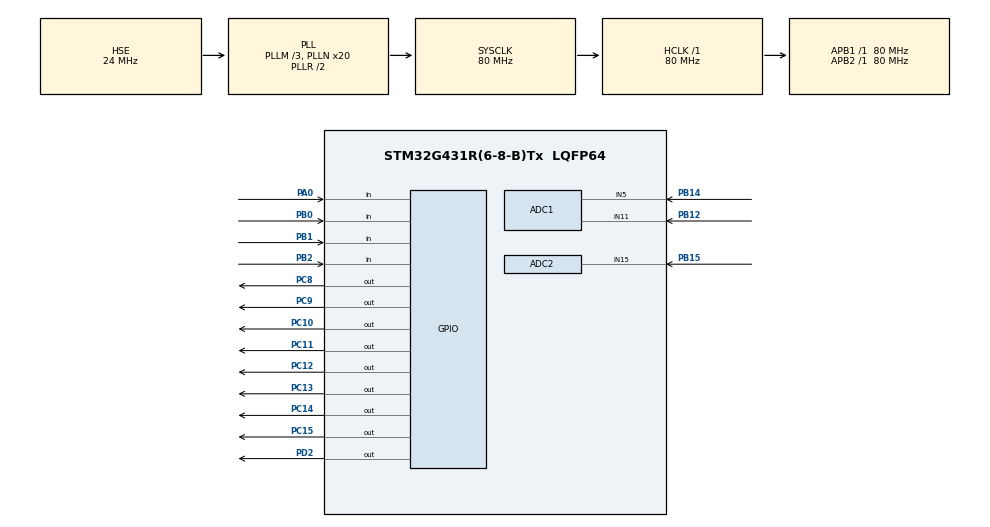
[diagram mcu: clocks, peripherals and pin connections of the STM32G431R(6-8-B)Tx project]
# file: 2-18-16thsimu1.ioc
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ADC1.Channel-0\#ChannelRegularConversion=ADC_CHANNEL_5
ADC1.Channel-1\#ChannelRegularConversion=ADC_CHANNEL_11
ADC1.ClockPrescaler=ADC_CLOCK_ASYNC_DIV128
ADC1.ContinuousConvMode=ENABLE
ADC1.DMAContinuousRequests=ENABLE
ADC1.DiscontinuousConvMode=DISABLE
ADC1.NbrOfConversion=2
ADC1.NbrOfConversionFlag=1
ADC1.OffsetNumber-0\#ChannelRegularConversion=ADC_OFFSET_NONE
ADC1.OffsetNumber-1\#ChannelRegularConversion=ADC_OFFSET_NONE
ADC1.Rank-0\#ChannelRegularConversion=1
ADC1.Rank-1\#ChannelRegularConversion=2
ADC1.SamplingTime-0\#ChannelRegularConversion=ADC_SAMPLETIME_640CYCLES_5
ADC1.SamplingTime-1\#ChannelRegularConversion=ADC_SAMPLETIME_640CYCLES_5
ADC1.master=1
ADC2.Channel-0\#ChannelRegularConversion=ADC_CHANNEL_15
ADC2.ClockPrescaler=ADC_CLOCK_ASYNC_DIV128
ADC2.ContinuousConvMode=ENABLE
ADC2.DMAContinuousRequests=ENABLE
ADC2.NbrOfConversionFlag=1
ADC2.OffsetNumber-0\#ChannelRegularConversion=ADC_OFFSET_NONE
ADC2.Rank-0\#ChannelRegularConversion=1
ADC2.SamplingTime-0\#ChannelRegularConversion=ADC_SAMPLETIME_2CYCLES_5
Dma.ADC1.1.Direction=DMA_PERIPH_TO_MEMORY
Dma.ADC1.1.EventEnable=DISABLE
Dma.ADC1.1.Instance=DMA1_Channel2
Dma.ADC1.1.MemDataAlignment=DMA_MDATAALIGN_HALFWORD
Dma.ADC1.1.MemInc=DMA_MINC_ENABLE
Dma.ADC1.1.Mode=DMA_CIRCULAR
Dma.ADC1.1.PeriphDataAlignment=DMA_PDATAALIGN_HALFWORD
Dma.ADC1.1.PeriphInc=DMA_PINC_DISABLE
Dma.ADC1.1.Polarity=HAL_DMAMUX_REQ_GEN_RISING
Dma.ADC1.1.Priority=DMA_PRIORITY_LOW
Dma.ADC1.1.RequestNumber=1
Dma.ADC1.1.SignalID=NONE
Dma.ADC1.1.SyncEnable=DISABLE
Dma.ADC1.1.SyncPolarity=HAL_DMAMUX_SYNC_NO_EVENT
Dma.ADC1.1.SyncRequestNumber=1
Dma.ADC1.1.SyncSignalID=NONE
Dma.ADC2.0.Direction=DMA_PERIPH_TO_MEMORY
Dma.ADC2.0.EventEnable=DISABLE
Dma.ADC2.0.Instance=DMA1_Channel1
Dma.ADC2.0.MemDataAlignment=DMA_MDATAALIGN_HALFWORD
Dma.ADC2.0.MemInc=DMA_MINC_ENABLE
Dma.ADC2.0.Mode=DMA_CIRCULAR
Dma.ADC2.0.PeriphDataAlignment=DMA_PDATAALIGN_HALFWORD
Dma.ADC2.0.PeriphInc=DMA_PINC_DISABLE
Dma.ADC2.0.Polarity=HAL_DMAMUX_REQ_GEN_RISING
Dma.ADC2.0.Priority=DMA_PRIORITY_LOW
Dma.ADC2.0.RequestNumber=1
Dma.ADC2.0.SignalID=NONE
Dma.ADC2.0.SyncEnable=DISABLE
Dma.ADC2.0.SyncPolarity=HAL_DMAMUX_SYNC_NO_EVENT
Dma.ADC2.0.SyncRequestNumber=1
Dma.ADC2.0.SyncSignalID=NONE
Dma.Request0=ADC2
Dma.Request1=ADC1
Mcu.Family=STM32G4
Mcu.Name=STM32G431R(6-8-B)Tx
Mcu.Package=LQFP64
NVIC.ADC1_2_IRQn=true\:2\:0\:true\:false\:true\:true\:true\:true
NVIC.DMA1_Channel1_IRQn=true\:0\:0\:false\:false\:true\:false\:true\:true
NVIC.DMA1_Channel2_IRQn=true\:0\:0\:false\:false\:true\:false\:true\:true
NVIC.PriorityGroup=NVIC_PRIORITYGROUP_4
NVIC.TIM7_IRQn=true\:1\:0\:true\:false\:true\:true\:true\:true
PA0.GPIO_Mode=GPIO_MODE_INPUT
PA0.GPIO_PuPd=GPIO_PULLUP
PA0.Signal=GPIO_Input
PA13.Mode=Serial_Wire
PA13.Signal=SYS_JTMS-SWDIO
PA14.Mode=Serial_Wire
PA14.Signal=SYS_JTCK-SWCLK
PB0.GPIO_Mode=GPIO_MODE_INPUT
PB0.GPIO_PuPd=GPIO_PULLUP
PB0.Signal=GPIO_Input
PB1.GPIO_Mode=GPIO_MODE_INPUT
PB1.GPIO_PuPd=GPIO_PULLUP
PB1.Signal=GPIO_Input
PB12.Mode=IN11-Single-Ended
PB12.Signal=ADC1_IN11
PB14.Mode=IN5-Single-Ended
PB14.Signal=ADC1_IN5
PB15.Mode=IN15-Single-Ended
PB15.Signal=ADC2_IN15
PB2.GPIO_Mode=GPIO_MODE_INPUT
PB2.GPIO_PuPd=GPIO_PULLUP
PB2.Signal=GPIO_Input
PC10.PinState=GPIO_PIN_SET
PC10.Signal=GPIO_Output
PC11.PinState=GPIO_PIN_SET
PC11.Signal=GPIO_Output
PC12.PinState=GPIO_PIN_SET
PC12.Signal=GPIO_Output
PC13.PinState=GPIO_PIN_SET
PC13.Signal=GPIO_Output
PC14-OSC32_IN.PinState=GPIO_PIN_SET
PC14-OSC32_IN.Signal=GPIO_Output
PC15-OSC32_OUT.PinState=GPIO_PIN_SET
PC15-OSC32_OUT.Signal=GPIO_Output
PC8.PinState=GPIO_PIN_SET
PC8.Signal=GPIO_Output
PC9.PinState=GPIO_PIN_SET
PC9.Signal=GPIO_Output
PD2.PinState=GPIO_PIN_SET
PD2.Signal=GPIO_Output
PF0-OSC_IN.Mode=HSE-External-Oscillator
PF0-OSC_IN.Signal=RCC_OSC_IN
PF1-OSC_OUT.Mode=HSE-External-Oscillator
PF1-OSC_OUT.Signal=RCC_OSC_OUT
ProjectManager.HeapSize=0x200
ProjectManager.StackSize=0x400
ProjectManager.TargetToolchain=MDK-ARM V5.32
RCC.ADC12Freq_Value=80000000
RCC.AHBFreq_Value=80000000
RCC.APB1Freq_Value=80000000
RCC.APB1TimFreq_Value=80000000
RCC.APB2Freq_Value=80000000
RCC.APB2TimFreq_Value=80000000
RCC.CortexFreq_Value=80000000
RCC.EXTERNAL_CLOCK_VALUE=12288000
RCC.HCLKFreq_Value=80000000
RCC.HSE_VALUE=24000000
RCC.HSI48_VALUE=48000000
RCC.HSI_VALUE=16000000
RCC.LSE_VALUE=32768
RCC.PLLM=RCC_PLLM_DIV3
RCC.PLLN=20
RCC.PLLSourceVirtual=RCC_PLLSOURCE_HSE
RCC.SYSCLKFreq_VALUE=80000000
RCC.SYSCLKSource=RCC_SYSCLKSOURCE_PLLCLK
RCC.USBFreq_Value=80000000
RCC.VCOOutputFreq_Value=160000000
TIM7.PeriodNoDither=1000-1
TIM7.Prescaler=80-1
VP_SYS_VS_DBSignals.Mode=DisableDeadBatterySignals
VP_TIM7_VS_ClockSourceINT.Mode=Enable_Timer
board=custom

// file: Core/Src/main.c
/* USER CODE BEGIN Header */
/**
  ******************************************************************************
  * @file           : main.c
  * @brief          : Main program body
  ******************************************************************************
  * @attention
  *
  * Copyright (c) 2025 STMicroelectronics.
  * All rights reserved.
  *
  * This software is licensed under terms that can be found in the LICENSE file
  * in the root directory of this software component.
  * If no LICENSE file comes with this software, it is provided AS-IS.
  *
  ******************************************************************************
  */
/* USER CODE END Header */
#include "main.h"
#include "adc.h"
#include "dma.h"
#include "tim.h"
#include "gpio.h"

/* USER CODE BEGIN Includes */
#include "headfile.h"

/* USER CODE END Includes */

void SystemClock_Config(void);

int main(void)
{

  /* MCU Configuration--------------------------------------------------------*/

  /* Reset of all peripherals, Initializes the Flash interface and the Systick. */
  HAL_Init();

  /* Configure the system clock */
  SystemClock_Config();

  /* Initialize all configured peripherals */
  MX_GPIO_Init();
  MX_DMA_Init();
  MX_TIM7_Init();
  MX_ADC2_Init();
  MX_ADC1_Init();
  /* USER CODE BEGIN 2 */
	HAL_GPIO_WritePin(GPIOD, GPIO_PIN_2, GPIO_PIN_RESET);
	led_show(1,0);
	led_show(2,0);
	led_show(3,0);
	led_show(4,0);
	led_show(5,0);
	led_show(6,0);
	led_show(7,0);
	led_show(8,0);

	led_show(1,1);

	HAL_TIM_Base_Start_IT(&htim7);

	LCD_Init();
	LCD_Clear(Black);
	LCD_SetTextColor(White);
	LCD_SetBackColor(Black);

	HAL_ADC_Start_DMA(&hadc2,(uint32_t *)adc2_cap,2);
	HAL_ADC_Start_DMA(&hadc1,(uint32_t *)adc1_cap,4);

  /* USER CODE END 2 */

  /* Infinite loop */
  /* USER CODE BEGIN WHILE */
  while (1)
  {
		while_fun();
    /* USER CODE END WHILE */

  }
}

void SystemClock_Config(void)
{
  RCC_OscInitTypeDef RCC_OscInitStruct = {0};
  RCC_ClkInitTypeDef RCC_ClkInitStruct = {0};

  /** Configure the main internal regulator output voltage
  */
  HAL_PWREx_ControlVoltageScaling(PWR_REGULATOR_VOLTAGE_SCALE1);

  /** Initializes the RCC Oscillators according to the specified parameters
  * in the RCC_OscInitTypeDef structure.
  */
  RCC_OscInitStruct.OscillatorType = RCC_OSCILLATORTYPE_HSE;
  RCC_OscInitStruct.HSEState = RCC_HSE_ON;
  RCC_OscInitStruct.PLL.PLLState = RCC_PLL_ON;
  RCC_OscInitStruct.PLL.PLLSource = RCC_PLLSOURCE_HSE;
  RCC_OscInitStruct.PLL.PLLM = RCC_PLLM_DIV3;
  RCC_OscInitStruct.PLL.PLLN = 20;
  RCC_OscInitStruct.PLL.PLLP = RCC_PLLP_DIV2;
  RCC_OscInitStruct.PLL.PLLQ = RCC_PLLQ_DIV2;
  RCC_OscInitStruct.PLL.PLLR = RCC_PLLR_DIV2;
  if (HAL_RCC_OscConfig(&RCC_OscInitStruct) != HAL_OK)
  {
    Error_Handler();
  }

  /** Initializes the CPU, AHB and APB buses clocks
  */
  RCC_ClkInitStruct.ClockType = RCC_CLOCKTYPE_HCLK|RCC_CLOCKTYPE_SYSCLK
                              |RCC_CLOCKTYPE_PCLK1|RCC_CLOCKTYPE_PCLK2;
  RCC_ClkInitStruct.SYSCLKSource = RCC_SYSCLKSOURCE_PLLCLK;
  RCC_ClkInitStruct.AHBCLKDivider = RCC_SYSCLK_DIV1;
  RCC_ClkInitStruct.APB1CLKDivider = RCC_HCLK_DIV1;
  RCC_ClkInitStruct.APB2CLKDivider = RCC_HCLK_DIV1;

  if (HAL_RCC_ClockConfig(&RCC_ClkInitStruct, FLASH_LATENCY_2) != HAL_OK)
  {
    Error_Handler();
  }
}

void Error_Handler(void)
{
  __disable_irq();
  while (1)
  {
  }
}
